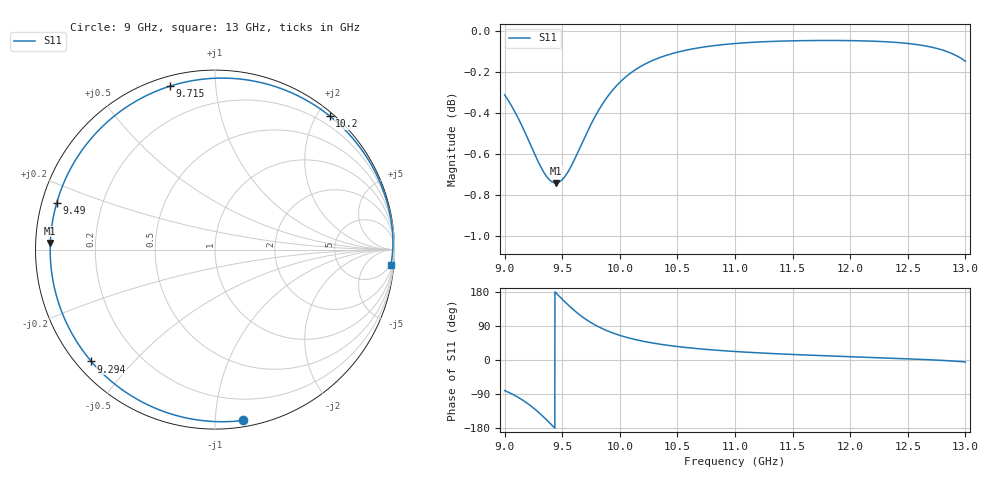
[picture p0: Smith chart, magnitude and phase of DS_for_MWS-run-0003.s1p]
! TOUCHSTONE file generated by CST DESIGN STUDIO
! Date and time: Tue Feb  4 16:14:22 2025
! Project name: C:\Work\MatlabApps\UnitCellOptimizationMatlab\CST\unitcell.cst
! Tree item: Tasks\Sweep1\SPara1\S-Parameters
! Header version: 2024
! Port assignment regex: !\s*Touchstone port\s*([0-9]+)\s*=\s*(CST MWS port|CST DES external port|CST DES block port)\s*(.+)\s* \(\"(.*)\"\)(\s*mode\s*([0-9]+))?.*
! Touchstone port assignment:
! Touchstone port 1 = CST DES external port 1 ("")
# GHz S MA R 50
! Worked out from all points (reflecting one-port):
!   4001 points, 9 GHz to 13 GHz, reference 50 ohm
!   lowest |S11| = -0.7 dB at 9.444 GHz (marker M1), VSWR 23.49, Z = 2.13 + j1.02 ohm
!   phase of S11 starts at -81 deg and turns -285 deg over the sweep
!   S11 on the Smith chart (normalised r, x): 9 GHz: 0.04, -1.18; 9.294 GHz: 0.04, -0.38; 9.49 GHz: 0.04, +0.15; 9.715 GHz: 0.05, +0.76; 10.2 GHz: 0.05, +2.17; 13 GHz: 4, -22
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9  0.9647 -80.6
9.091  0.9554 -94.0
9.165  0.9463 -107.5
9.231  0.9373 -122.0
9.294  0.929 -137.9
9.374  0.9209 -160.8
9.409  0.919 -171.5
9.444  0.9183 177.6
9.49  0.9195 163.5
9.5  0.92 160.4
9.555  0.9245 144.3
9.607  0.9305 130.2
9.659  0.9372 117.5
9.715  0.9446 105.4
9.779  0.9524 93.6
9.855  0.9603 81.9
9.925  0.9663 73.0
10  0.9715 65.1
10.096  0.9767 56.8
10.204  0.981 49.4
10.34  0.9849 42.1
10.5  0.988 35.5
10.723  0.9908 28.6
11  0.9928 22.4
11.5  0.9943 14.6
12  0.9944 8.7
12.5  0.9929 3.2
13  0.9831 -5.1
